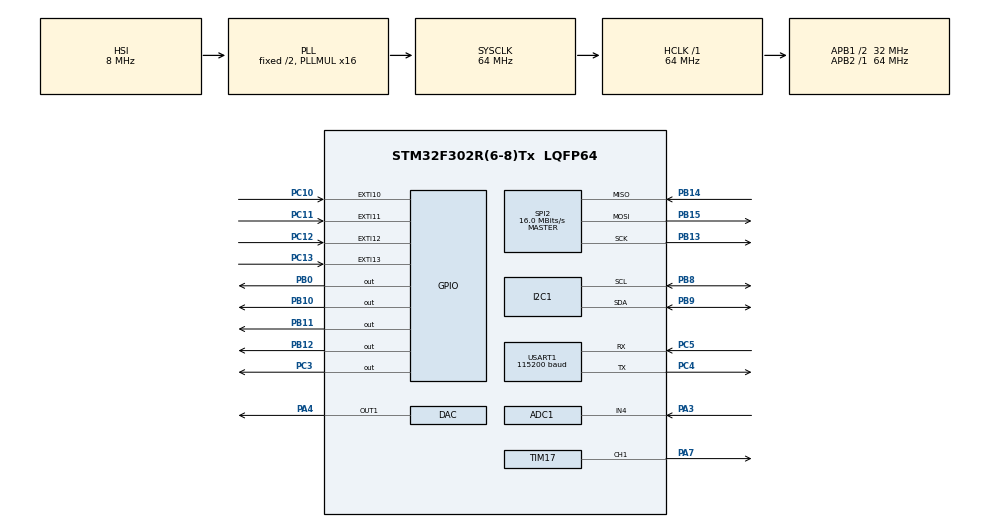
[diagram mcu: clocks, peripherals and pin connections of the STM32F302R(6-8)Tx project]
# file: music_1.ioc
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ADC1.Channel-2\#ChannelRegularConversion=ADC_CHANNEL_4
ADC1.ClockPrescaler=ADC_CLOCK_SYNC_PCLK_DIV4
ADC1.ContinuousConvMode=ENABLE
ADC1.DMAContinuousRequests=ENABLE
ADC1.EnableInjectedConversion=DISABLE
ADC1.EnableRegularConversion=ENABLE
ADC1.NbrOfConversion=1
ADC1.NbrOfConversionFlag=1
ADC1.Offset-2\#ChannelRegularConversion=154
ADC1.OffsetNumber-2\#ChannelRegularConversion=ADC_OFFSET_1
ADC1.Rank-2\#ChannelRegularConversion=1
ADC1.Resolution=ADC_RESOLUTION_8B
ADC1.SamplingTime-2\#ChannelRegularConversion=ADC_SAMPLETIME_7CYCLES_5
ADC1.SubFamily=STM32F302x8
ADC1.master=1
Dma.ADC1.1.Direction=DMA_PERIPH_TO_MEMORY
Dma.ADC1.1.Instance=DMA1_Channel1
Dma.ADC1.1.MemDataAlignment=DMA_MDATAALIGN_BYTE
Dma.ADC1.1.MemInc=DMA_MINC_ENABLE
Dma.ADC1.1.Mode=DMA_CIRCULAR
Dma.ADC1.1.PeriphDataAlignment=DMA_PDATAALIGN_BYTE
Dma.ADC1.1.PeriphInc=DMA_PINC_DISABLE
Dma.ADC1.1.Priority=DMA_PRIORITY_HIGH
Dma.Request0=TIM17_CH1/UP
Dma.Request1=ADC1
Dma.TIM17_CH1/UP.0.Direction=DMA_MEMORY_TO_PERIPH
Dma.TIM17_CH1/UP.0.Instance=DMA1_Channel7
Dma.TIM17_CH1/UP.0.MemDataAlignment=DMA_MDATAALIGN_BYTE
Dma.TIM17_CH1/UP.0.MemInc=DMA_MINC_ENABLE
Dma.TIM17_CH1/UP.0.Mode=DMA_NORMAL
Dma.TIM17_CH1/UP.0.PeriphDataAlignment=DMA_PDATAALIGN_BYTE
Dma.TIM17_CH1/UP.0.PeriphInc=DMA_PINC_DISABLE
Dma.TIM17_CH1/UP.0.Priority=DMA_PRIORITY_LOW
FATFS._FS_MINIMIZE=1
FATFS._MAX_SS=4096
FATFS._USE_LFN=1
I2C1.Timing=0x10707DBC
Mcu.Family=STM32F3
Mcu.Name=STM32F302R(6-8)Tx
Mcu.Package=LQFP64
NVIC.DMA1_Channel1_IRQn=true\:2\:0\:true\:false\:true\:false\:true\:true
NVIC.DMA1_Channel7_IRQn=true\:2\:0\:true\:false\:true\:false\:true\:true
NVIC.EXTI15_10_IRQn=true\:4\:0\:true\:false\:true\:true\:true\:true
NVIC.PriorityGroup=NVIC_PRIORITYGROUP_4
NVIC.TIM1_TRG_COM_TIM17_IRQn=true\:2\:0\:true\:false\:true\:true\:true\:true
NVIC.TIM6_DAC_IRQn=true\:1\:0\:true\:false\:true\:true\:true\:true
PA13.Mode=Serial_Wire
PA13.Signal=SYS_JTMS-SWDIO
PA14.Mode=Serial_Wire
PA14.Signal=SYS_JTCK-SWCLK
PA3.Mode=IN4-Single-Ended
PA3.Signal=ADC1_IN4
PA4.Signal=COMP_DAC1_group
PA7.Signal=S_TIM17_CH1
PB0.Signal=GPIO_Output
PB10.Signal=GPIO_Output
PB11.Signal=GPIO_Output
PB12.Signal=GPIO_Output
PB13.Mode=Full_Duplex_Master
PB13.Signal=SPI2_SCK
PB14.Mode=Full_Duplex_Master
PB14.Signal=SPI2_MISO
PB15.Mode=Full_Duplex_Master
PB15.Signal=SPI2_MOSI
PB8.Mode=I2C
PB8.Signal=I2C1_SCL
PB9.Mode=I2C
PB9.Signal=I2C1_SDA
PC10.GPIO_PuPd=GPIO_PULLDOWN
PC10.Signal=GPXTI10
PC11.GPIO_PuPd=GPIO_PULLDOWN
PC11.Signal=GPXTI11
PC12.GPIO_PuPd=GPIO_PULLDOWN
PC12.Signal=GPXTI12
PC13.Signal=GPXTI13
PC3.Signal=GPIO_Output
PC4.Mode=Asynchronous
PC4.Signal=USART1_TX
PC5.Mode=Asynchronous
PC5.Signal=USART1_RX
ProjectManager.HeapSize=0x200
ProjectManager.StackSize=0x400
ProjectManager.TargetToolchain=STM32CubeIDE
RCC.AHBFreq_Value=64000000
RCC.APB1CLKDivider=RCC_HCLK_DIV2
RCC.APB1Freq_Value=32000000
RCC.APB1TimFreq_Value=64000000
RCC.APB2Freq_Value=64000000
RCC.APB2TimFreq_Value=64000000
RCC.CortexFreq_Value=64000000
RCC.HCLKFreq_Value=64000000
RCC.HSE_VALUE=8000000
RCC.HSI_VALUE=8000000
RCC.I2c1ClockSelection=RCC_I2C1CLKSOURCE_SYSCLK
RCC.LSE_VALUE=32768
RCC.PLLMUL=RCC_PLL_MUL16
RCC.SYSCLKFreq_VALUE=64000000
RCC.SYSCLKSourceVirtual=RCC_SYSCLKSOURCE_PLLCLK
RCC.TIM17Selection=RCC_TIM17CLK_PLLCLK
RCC.USBFreq_Value=64000000
SH.COMP_DAC1_group.0=DAC_OUT1,DAC_OUT1
SH.S_TIM17_CH1.0=TIM17_CH1,PWM Generation1 CH1
SPI2.CalculateBaudRate=16.0 MBits/s
SPI2.DataSize=SPI_DATASIZE_8BIT
SPI2.Direction=SPI_DIRECTION_2LINES
SPI2.Mode=SPI_MODE_MASTER
SPI2.VirtualType=VM_MASTER
TIM17.Channel=TIM_CHANNEL_1
TIM17.Period=255
TIM17.Prescaler=30
TIM6.AutoReloadPreload=TIM_AUTORELOAD_PRELOAD_ENABLE
TIM6.Period=10000
TIM6.Prescaler=128
USART1.BaudRate=115200
USART1.VirtualMode-Asynchronous=VM_ASYNC
VP_FATFS_VS_Generic.Mode=User_defined
VP_TIM17_VS_ClockSourceINT.Mode=Enable_Timer
VP_TIM6_VS_ClockSourceINT.Mode=Enable_Timer
board=custom

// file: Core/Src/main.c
/* USER CODE BEGIN Header */
/**
  ******************************************************************************
  * @file           : main.c
  * @brief          : Main program body
  ******************************************************************************
  * @attention
  *
  * Copyright (c) 2023 STMicroelectronics.
  * All rights reserved.
  *
  * This software is licensed under terms that can be found in the LICENSE file
  * in the root directory of this software component.
  * If no LICENSE file comes with this software, it is provided AS-IS.
  *
  ******************************************************************************
  */
/* USER CODE END Header */
#include "main.h"
#include "fatfs.h"

/* USER CODE BEGIN Includes */
#include <stdio.h>
#include <string.h>
#include <stdbool.h>
#include <math.h>
#include "liquidcrystal_i2c.h"
/* USER CODE END Includes */

/* USER CODE BEGIN PD */
#define SIZE_OF_BUFFER 	500

/* USER CODE END PD */

 ADC_HandleTypeDef hadc1;
DMA_HandleTypeDef hdma_adc1;

DAC_HandleTypeDef hdac;

I2C_HandleTypeDef hi2c1;

SPI_HandleTypeDef hspi2;

TIM_HandleTypeDef htim6;
TIM_HandleTypeDef htim17;
DMA_HandleTypeDef hdma_tim17_ch1_up;

UART_HandleTypeDef huart1;

/* USER CODE BEGIN PV */
FATFS       FatFs;                //Fatfs handle
FIL         fil;                  //File handle
DIR 		dp;
FILINFO 	fno;
DWORD       fileSize;
FRESULT     fres;                 //Result after operations
char        buf[100];
//FIL old_fil_data;
DWORD	old_fptr;			/* File read/write pointer (Zeroed on file open) */
DWORD	old_fsize;			/* File size */
uint8_t buff_music[SIZE_OF_BUFFER];

struct
{
	int page : 4;
	/*   Page number description
	 * 0: Start menu
	 * 1: Music
	 * 2: Recording
	 */
	uint8_t cursor_line;
	uint8_t file_number;
	char music_name[10]
}display_status;

uint16_t tim17_counter;
uint32_t adc_counter;
/* USER CODE END PV */

void SystemClock_Config(void);
static void MX_GPIO_Init(void);
static void MX_I2C1_Init(void);
static void MX_SPI2_Init(void);
static void MX_USART1_UART_Init(void);
static void MX_DMA_Init(void);
static void MX_TIM17_Init(void);
static void MX_TIM6_Init(void);
static void MX_ADC1_Init(void);
static void MX_DAC_Init(void);
/* USER CODE BEGIN PFP */
void HAL_GPIO_EXTI_Callback(uint16_t GPIO_Pin);
void start_play_music(const TCHAR* path);
void stop_play_music();
/* USER CODE END PFP */

int main(void)
{
  /* USER CODE BEGIN 1 */
	memset(buff_music, 0, sizeof(buff_music));
	tim17_counter = 0;
	adc_counter = 0;
  /* USER CODE END 1 */

  /* MCU Configuration--------------------------------------------------------*/

  /* Reset of all peripherals, Initializes the Flash interface and the Systick. */
  HAL_Init();

  /* Configure the system clock */
  SystemClock_Config();

  /* Initialize all configured peripherals */
  MX_GPIO_Init();
  MX_I2C1_Init();
  MX_SPI2_Init();
  MX_USART1_UART_Init();
  MX_FATFS_Init();
  MX_DMA_Init();
  MX_TIM17_Init();
  MX_TIM6_Init();
  MX_ADC1_Init();
  MX_DAC_Init();
  /* USER CODE BEGIN 2 */
  process_SD_card();

	HD44780_Init(2);
	HD44780_Clear();
	HD44780_SetCursor(0,0);
	HD44780_PrintStr("     HELLO");
	HD44780_SetCursor(10,1);
	HAL_Delay(2000);
  /* USER CODE END 2 */

  /* Infinite loop */
  while (1)
  {

  }
}

void SystemClock_Config(void)
{
  RCC_OscInitTypeDef RCC_OscInitStruct = {0};
  RCC_ClkInitTypeDef RCC_ClkInitStruct = {0};
  RCC_PeriphCLKInitTypeDef PeriphClkInit = {0};

  /** Initializes the RCC Oscillators according to the specified parameters
  * in the RCC_OscInitTypeDef structure.
  */
  RCC_OscInitStruct.OscillatorType = RCC_OSCILLATORTYPE_HSI;
  RCC_OscInitStruct.HSIState = RCC_HSI_ON;
  RCC_OscInitStruct.HSICalibrationValue = RCC_HSICALIBRATION_DEFAULT;
  RCC_OscInitStruct.PLL.PLLState = RCC_PLL_ON;
  RCC_OscInitStruct.PLL.PLLSource = RCC_PLLSOURCE_HSI;
  RCC_OscInitStruct.PLL.PLLMUL = RCC_PLL_MUL16;
  if (HAL_RCC_OscConfig(&RCC_OscInitStruct) != HAL_OK)
  {
    Error_Handler();
  }

  /** Initializes the CPU, AHB and APB buses clocks
  */
  RCC_ClkInitStruct.ClockType = RCC_CLOCKTYPE_HCLK|RCC_CLOCKTYPE_SYSCLK
                              |RCC_CLOCKTYPE_PCLK1|RCC_CLOCKTYPE_PCLK2;
  RCC_ClkInitStruct.SYSCLKSource = RCC_SYSCLKSOURCE_PLLCLK;
  RCC_ClkInitStruct.AHBCLKDivider = RCC_SYSCLK_DIV1;
  RCC_ClkInitStruct.APB1CLKDivider = RCC_HCLK_DIV2;
  RCC_ClkInitStruct.APB2CLKDivider = RCC_HCLK_DIV1;

  if (HAL_RCC_ClockConfig(&RCC_ClkInitStruct, FLASH_LATENCY_2) != HAL_OK)
  {
    Error_Handler();
  }
  PeriphClkInit.PeriphClockSelection = RCC_PERIPHCLK_USART1|RCC_PERIPHCLK_I2C1
                              |RCC_PERIPHCLK_TIM17;
  PeriphClkInit.Usart1ClockSelection = RCC_USART1CLKSOURCE_PCLK1;
  PeriphClkInit.I2c1ClockSelection = RCC_I2C1CLKSOURCE_SYSCLK;
  PeriphClkInit.Tim17ClockSelection = RCC_TIM17CLK_PLLCLK;
  if (HAL_RCCEx_PeriphCLKConfig(&PeriphClkInit) != HAL_OK)
  {
    Error_Handler();
  }
}

static void MX_ADC1_Init(void)
{

  ADC_ChannelConfTypeDef sConfig = {0};

  /* USER CODE BEGIN ADC1_Init 1 */
  hadc1.Init.ContinuousConvMode = ENABLE;   ////// !!!!!!!!!!!!!!!!!
  hadc1.Init.DMAContinuousRequests = ENABLE; //////////!!!!!!!!!!   ENABLE is from lcd displej
  /* USER CODE END ADC1_Init 1 */

  /** Common config
  */
  hadc1.Instance = ADC1;
  hadc1.Init.ClockPrescaler = ADC_CLOCK_SYNC_PCLK_DIV4;
  hadc1.Init.Resolution = ADC_RESOLUTION_8B;
  hadc1.Init.ScanConvMode = ADC_SCAN_DISABLE;
  hadc1.Init.ContinuousConvMode = ENABLE;
  hadc1.Init.DiscontinuousConvMode = DISABLE;
  hadc1.Init.ExternalTrigConvEdge = ADC_EXTERNALTRIGCONVEDGE_NONE;
  hadc1.Init.ExternalTrigConv = ADC_SOFTWARE_START;
  hadc1.Init.DataAlign = ADC_DATAALIGN_RIGHT;
  hadc1.Init.NbrOfConversion = 1;
  hadc1.Init.DMAContinuousRequests = ENABLE;
  hadc1.Init.EOCSelection = ADC_EOC_SINGLE_CONV;
  hadc1.Init.LowPowerAutoWait = DISABLE;
  hadc1.Init.Overrun = ADC_OVR_DATA_OVERWRITTEN;
  if (HAL_ADC_Init(&hadc1) != HAL_OK)
  {
    Error_Handler();
  }

  /** Configure Regular Channel
  */
  sConfig.Channel = ADC_CHANNEL_4;
  sConfig.Rank = ADC_REGULAR_RANK_1;
  sConfig.SingleDiff = ADC_SINGLE_ENDED;
  sConfig.SamplingTime = ADC_SAMPLETIME_7CYCLES_5;
  sConfig.OffsetNumber = ADC_OFFSET_1;
  sConfig.Offset = 154;
  if (HAL_ADC_ConfigChannel(&hadc1, &sConfig) != HAL_OK)
  {
    Error_Handler();
  }

}

static void MX_DAC_Init(void)
{

  DAC_ChannelConfTypeDef sConfig = {0};

  /** DAC Initialization
  */
  hdac.Instance = DAC;
  if (HAL_DAC_Init(&hdac) != HAL_OK)
  {
    Error_Handler();
  }

  /** DAC channel OUT1 config
  */
  sConfig.DAC_Trigger = DAC_TRIGGER_NONE;
  sConfig.DAC_OutputBuffer = DAC_OUTPUTBUFFER_ENABLE;
  if (HAL_DAC_ConfigChannel(&hdac, &sConfig, DAC_CHANNEL_1) != HAL_OK)
  {
    Error_Handler();
  }

}

static void MX_I2C1_Init(void)
{

  hi2c1.Instance = I2C1;
  hi2c1.Init.Timing = 0x10707DBC;
  hi2c1.Init.OwnAddress1 = 0;
  hi2c1.Init.AddressingMode = I2C_ADDRESSINGMODE_7BIT;
  hi2c1.Init.DualAddressMode = I2C_DUALADDRESS_DISABLE;
  hi2c1.Init.OwnAddress2 = 0;
  hi2c1.Init.OwnAddress2Masks = I2C_OA2_NOMASK;
  hi2c1.Init.GeneralCallMode = I2C_GENERALCALL_DISABLE;
  hi2c1.Init.NoStretchMode = I2C_NOSTRETCH_DISABLE;
  if (HAL_I2C_Init(&hi2c1) != HAL_OK)
  {
    Error_Handler();
  }

  /** Configure Analogue filter
  */
  if (HAL_I2CEx_ConfigAnalogFilter(&hi2c1, I2C_ANALOGFILTER_ENABLE) != HAL_OK)
  {
    Error_Handler();
  }

  /** Configure Digital filter
  */
  if (HAL_I2CEx_ConfigDigitalFilter(&hi2c1, 0) != HAL_OK)
  {
    Error_Handler();
  }

}

static void MX_SPI2_Init(void)
{

  /* SPI2 parameter configuration*/
  hspi2.Instance = SPI2;
  hspi2.Init.Mode = SPI_MODE_MASTER;
  hspi2.Init.Direction = SPI_DIRECTION_2LINES;
  hspi2.Init.DataSize = SPI_DATASIZE_8BIT;
  hspi2.Init.CLKPolarity = SPI_POLARITY_LOW;
  hspi2.Init.CLKPhase = SPI_PHASE_1EDGE;
  hspi2.Init.NSS = SPI_NSS_SOFT;
  hspi2.Init.BaudRatePrescaler = SPI_BAUDRATEPRESCALER_2;
  hspi2.Init.FirstBit = SPI_FIRSTBIT_MSB;
  hspi2.Init.TIMode = SPI_TIMODE_DISABLE;
  hspi2.Init.CRCCalculation = SPI_CRCCALCULATION_DISABLE;
  hspi2.Init.CRCPolynomial = 7;
  hspi2.Init.CRCLength = SPI_CRC_LENGTH_DATASIZE;
  hspi2.Init.NSSPMode = SPI_NSS_PULSE_ENABLE;
  if (HAL_SPI_Init(&hspi2) != HAL_OK)
  {
    Error_Handler();
  }

}

static void MX_TIM6_Init(void)
{

  TIM_MasterConfigTypeDef sMasterConfig = {0};

  htim6.Instance = TIM6;
  htim6.Init.Prescaler = 128;
  htim6.Init.CounterMode = TIM_COUNTERMODE_UP;
  htim6.Init.Period = 10000;
  htim6.Init.AutoReloadPreload = TIM_AUTORELOAD_PRELOAD_ENABLE;
  if (HAL_TIM_Base_Init(&htim6) != HAL_OK)
  {
    Error_Handler();
  }
  sMasterConfig.MasterOutputTrigger = TIM_TRGO_RESET;
  sMasterConfig.MasterSlaveMode = TIM_MASTERSLAVEMODE_DISABLE;
  if (HAL_TIMEx_MasterConfigSynchronization(&htim6, &sMasterConfig) != HAL_OK)
  {
    Error_Handler();
  }

}

static void MX_TIM17_Init(void)
{

  TIM_OC_InitTypeDef sConfigOC = {0};
  TIM_BreakDeadTimeConfigTypeDef sBreakDeadTimeConfig = {0};

  htim17.Instance = TIM17;
  htim17.Init.Prescaler = 30;
  htim17.Init.CounterMode = TIM_COUNTERMODE_UP;
  htim17.Init.Period = 255;
  htim17.Init.ClockDivision = TIM_CLOCKDIVISION_DIV1;
  htim17.Init.RepetitionCounter = 0;
  htim17.Init.AutoReloadPreload = TIM_AUTORELOAD_PRELOAD_DISABLE;
  if (HAL_TIM_Base_Init(&htim17) != HAL_OK)
  {
    Error_Handler();
  }
  if (HAL_TIM_PWM_Init(&htim17) != HAL_OK)
  {
    Error_Handler();
  }
  sConfigOC.OCMode = TIM_OCMODE_PWM1;
  sConfigOC.Pulse = 0;
  sConfigOC.OCPolarity = TIM_OCPOLARITY_HIGH;
  sConfigOC.OCNPolarity = TIM_OCNPOLARITY_HIGH;
  sConfigOC.OCFastMode = TIM_OCFAST_DISABLE;
  sConfigOC.OCIdleState = TIM_OCIDLESTATE_RESET;
  sConfigOC.OCNIdleState = TIM_OCNIDLESTATE_RESET;
  if (HAL_TIM_PWM_ConfigChannel(&htim17, &sConfigOC, TIM_CHANNEL_1) != HAL_OK)
  {
    Error_Handler();
  }
  sBreakDeadTimeConfig.OffStateRunMode = TIM_OSSR_DISABLE;
  sBreakDeadTimeConfig.OffStateIDLEMode = TIM_OSSI_DISABLE;
  sBreakDeadTimeConfig.LockLevel = TIM_LOCKLEVEL_OFF;
  sBreakDeadTimeConfig.DeadTime = 0;
  sBreakDeadTimeConfig.BreakState = TIM_BREAK_DISABLE;
  sBreakDeadTimeConfig.BreakPolarity = TIM_BREAKPOLARITY_HIGH;
  sBreakDeadTimeConfig.BreakFilter = 0;
  sBreakDeadTimeConfig.AutomaticOutput = TIM_AUTOMATICOUTPUT_DISABLE;
  if (HAL_TIMEx_ConfigBreakDeadTime(&htim17, &sBreakDeadTimeConfig) != HAL_OK)
  {
    Error_Handler();
  }
  HAL_TIM_MspPostInit(&htim17);

}

static void MX_USART1_UART_Init(void)
{

  huart1.Instance = USART1;
  huart1.Init.BaudRate = 115200;
  huart1.Init.WordLength = UART_WORDLENGTH_8B;
  huart1.Init.StopBits = UART_STOPBITS_1;
  huart1.Init.Parity = UART_PARITY_NONE;
  huart1.Init.Mode = UART_MODE_TX_RX;
  huart1.Init.HwFlowCtl = UART_HWCONTROL_NONE;
  huart1.Init.OverSampling = UART_OVERSAMPLING_16;
  huart1.Init.OneBitSampling = UART_ONE_BIT_SAMPLE_DISABLE;
  huart1.AdvancedInit.AdvFeatureInit = UART_ADVFEATURE_NO_INIT;
  if (HAL_UART_Init(&huart1) != HAL_OK)
  {
    Error_Handler();
  }

}

static void MX_DMA_Init(void)
{

  /* DMA controller clock enable */
  __HAL_RCC_DMA1_CLK_ENABLE();

  /* DMA interrupt init */
  /* DMA1_Channel1_IRQn interrupt configuration */
  HAL_NVIC_SetPriority(DMA1_Channel1_IRQn, 2, 0);
  HAL_NVIC_EnableIRQ(DMA1_Channel1_IRQn);
  /* DMA1_Channel7_IRQn interrupt configuration */
  HAL_NVIC_SetPriority(DMA1_Channel7_IRQn, 2, 0);
  HAL_NVIC_EnableIRQ(DMA1_Channel7_IRQn);

}

static void MX_GPIO_Init(void)
{
  GPIO_InitTypeDef GPIO_InitStruct = {0};

  /* GPIO Ports Clock Enable */
  __HAL_RCC_GPIOC_CLK_ENABLE();
  __HAL_RCC_GPIOA_CLK_ENABLE();
  __HAL_RCC_GPIOB_CLK_ENABLE();

  /*Configure GPIO pin Output Level */
  HAL_GPIO_WritePin(GPIOC, GPIO_PIN_3, GPIO_PIN_RESET);

  /*Configure GPIO pin Output Level */
  HAL_GPIO_WritePin(GPIOB, GPIO_PIN_0|GPIO_PIN_10|GPIO_PIN_11|GPIO_PIN_12, GPIO_PIN_RESET);

  /*Configure GPIO pin : PC13 */
  GPIO_InitStruct.Pin = GPIO_PIN_13;
  GPIO_InitStruct.Mode = GPIO_MODE_IT_RISING;
  GPIO_InitStruct.Pull = GPIO_NOPULL;
  HAL_GPIO_Init(GPIOC, &GPIO_InitStruct);

  /*Configure GPIO pin : PC3 */
  GPIO_InitStruct.Pin = GPIO_PIN_3;
  GPIO_InitStruct.Mode = GPIO_MODE_OUTPUT_PP;
  GPIO_InitStruct.Pull = GPIO_NOPULL;
  GPIO_InitStruct.Speed = GPIO_SPEED_FREQ_LOW;
  HAL_GPIO_Init(GPIOC, &GPIO_InitStruct);

  /*Configure GPIO pins : PB0 PB10 PB11 PB12 */
  GPIO_InitStruct.Pin = GPIO_PIN_0|GPIO_PIN_10|GPIO_PIN_11|GPIO_PIN_12;
  GPIO_InitStruct.Mode = GPIO_MODE_OUTPUT_PP;
  GPIO_InitStruct.Pull = GPIO_NOPULL;
  GPIO_InitStruct.Speed = GPIO_SPEED_FREQ_LOW;
  HAL_GPIO_Init(GPIOB, &GPIO_InitStruct);

  /*Configure GPIO pins : PC10 PC11 PC12 */
  GPIO_InitStruct.Pin = GPIO_PIN_10|GPIO_PIN_11|GPIO_PIN_12;
  GPIO_InitStruct.Mode = GPIO_MODE_IT_RISING;
  GPIO_InitStruct.Pull = GPIO_PULLDOWN;
  HAL_GPIO_Init(GPIOC, &GPIO_InitStruct);

  /* EXTI interrupt init*/
  HAL_NVIC_SetPriority(EXTI15_10_IRQn, 4, 0);
  HAL_NVIC_EnableIRQ(EXTI15_10_IRQn);

}

/* USER CODE BEGIN 4 */
#ifdef __GNUC__
  /* With GCC, small printf (option LD Linker->Libraries->Small printf
     set to 'Yes') calls __io_putchar() */
int __io_putchar(int ch)
#else
int fputc(int ch, FILE *f)
#endif /* __GNUC__ */
{
  /* Place your implementation of fputc here */
  /* e.g. write a character to the UART3 and Loop until the end of transmission */
  HAL_UART_Transmit(&huart1, (uint8_t *)&ch, 1, HAL_MAX_DELAY);
  return ch;
}

void process_SD_card( void )
{
	f_mount(NULL, "", 0);
	fres = f_mount(&FatFs, "", 1);
	fres = f_open(&fil, "0:/data/data_file.txt", FA_WRITE | FA_READ | FA_CREATE_ALWAYS);
	fil.fsize = old_fsize;
	if (fres == FR_OK) {
	    UINT bytesWritten;
	    f_lseek(&fil, f_size(&fil));
	    DWORD size_of_fil;
	    size_of_fil = f_size(&fil);
	    printf("size of file 1 : %d \r\n", size_of_fil);
		memset(buff_music, 'A', sizeof(buff_music));
		fres = f_write(&fil, buff_music, sizeof(buff_music), &bytesWritten);
		size_of_fil = f_size(&fil);
		printf("size of file 2: %d \r\n", size_of_fil);
		 if (fres == FR_OK) {
				// Data written successfully
				f_close(&fil);  // Close the file
				printf("Data written to file: data_file.txt \r\n");
			} else {
				// Error occurred while writing data
				f_close(&fil);  // Close the file
				printf("Error writing data to file: data_file.txt \r\n");
			}
		    } else {
		        // Error occurred while opening the file
		        printf("Error opening file: data_file.txt \r\n");
		    }
		  f_close(&fil);
		  old_fsize = fil.fsize;
		  //f_mount(NULL, "", 0);
}

HAL_GPIO_EXTI_Callback(uint16_t GPIO_Pin)
{
	if(GPIO_Pin == GPIO_PIN_13)  //Esc
	{
		//Start menu
		HD44780_Clear();
		HD44780_SetCursor(0,0);
		HD44780_PrintStr("1. Music");
		HD44780_SetCursor(0,1);
		HD44780_PrintStr("2. Recording");
	    HD44780_Cursor();
	    HD44780_Blink();
	    HD44780_SetCursor(0,0);
	    display_status.page = 0;
	    display_status.cursor_line = 0;

	    stop_play_music(&fil);
	}
	else if(GPIO_Pin == GPIO_PIN_10)  // Enter
	{
		if(display_status.page == 0 && display_status.cursor_line ==0) // Music
		{
			HD44780_Clear();
			HD44780_SetCursor(0,0);
			display_status.page = 1;
			display_status.cursor_line = 0;
			fres = f_mount(&FatFs, "", 1);
			fres=f_opendir(&dp,"0:/music");
			printf("fres = %d \r\n", fres);
			display_status.file_number = 0;
			do
			{
				fres=f_readdir(&dp, &fno);
				printf("file name: %s \r\n", fno.fname);
				sprintf(buff_music,"%d. %s", display_status.file_number+1, fno.fname);
				if(display_status.file_number<2)
				{
					HD44780_SetCursor(0,display_status.file_number);
					HD44780_PrintStr(buff_music);
				}
				display_status.file_number++;
			}
			while (fres == FR_OK && fno.fname[0] !='\0');
			display_status.file_number =1; //Display can show only 2 lines
			f_mount(NULL, "", 0);
			HD44780_SetCursor(0,0);
		}
		else if(display_status.page == 1 && display_status.cursor_line ==0)
		{
			fres = f_mount(&FatFs, "", 1);
			fres=f_opendir(&dp,"0:/music");
			uint8_t n = display_status.file_number;
			display_status.file_number=0;
			do
			{
				fres=f_readdir(&dp, &fno);
				printf("file name: %s \r\n", fno.fname);
				sprintf(display_status.music_name,"%s", fno.fname);
				display_status.file_number++;
			}while(fno.fname[0] !='\0' &&  display_status.file_number<=n-1);
			display_status.file_number=n;
			f_mount(NULL, "", 0);
			char path[30];
			sprintf(path, "0:/music/%s", display_status.music_name);
			start_play_music(path);
		}
		else if(display_status.page == 1 && display_status.cursor_line ==1)
		{
			fres = f_mount(&FatFs, "", 1);
			fres=f_opendir(&dp,"0:/music");
			uint8_t n = display_status.file_number;
			display_status.file_number=0;
			do
			{
				fres=f_readdir(&dp, &fno);
				printf("file name: %s \r\n", fno.fname);
				sprintf(display_status.music_name,"%s", fno.fname);
				display_status.file_number++;
			}while(fno.fname[0] !='\0' &&  display_status.file_number<=n);
			display_status.file_number=n;
			f_mount(NULL, "", 0);
			char path[30];
			sprintf(path, "0:/music/%s", display_status.music_name);
			start_play_music(path);
		}

		if(display_status.page == 0 && display_status.cursor_line ==1) // Recording
		{
			HD44780_Clear();
			HD44780_SetCursor(0,0);
			HD44780_PrintStr("1.New Recording");
			HD44780_SetCursor(0,1);
			HD44780_PrintStr("2.Listen Record");
			display_status.page = 2;
			display_status.cursor_line = 0;
			HD44780_SetCursor(0,0);

		}
		else if(display_status.page == 2 && display_status.cursor_line ==0) //New recording
		{
			GPIOC->ODR |= GPIO_ODR_3;
			f_close(&fil);
			f_mount(NULL, "", 0);
			fres = f_mount(&FatFs, "", 1);
			fres = f_open(&fil, "0:/data/rec.wav", FA_WRITE | FA_READ | FA_CREATE_ALWAYS);
			HAL_TIM_Base_Start_IT(&htim6);
			ADC1->CFGR |= ADC_CFGR_DMACFG;
			ADC1->CFGR |= ADC_CFGR_DMAEN;
			HAL_ADC_Start(&hadc1);
			HAL_DMA_Start_IT(&hdma_adc1, &(ADC1->DR), (uint32_t)buff_music, sizeof(buff_music));
		}
		else if(display_status.page == 2 && display_status.cursor_line ==1) //Listen record
		{
			GPIOB->ODR |= GPIO_ODR_0;
			HAL_Delay(10);
			GPIOB->ODR &= ~GPIO_ODR_0;
		}
	}
	else if(GPIO_Pin == GPIO_PIN_11)  // ->
	{
		if(display_status.page == 0) {HD44780_SetCursor(0,1); display_status.cursor_line =1;}
		if(display_status.page == 1)
		{
			if(display_status.cursor_line == 1)
			{
				fres = f_mount(&FatFs, "", 1);
				fres=f_opendir(&dp,"0:/music");
				display_status.file_number++;
				uint8_t n = display_status.file_number;
				display_status.file_number=0;
				HD44780_Clear();
				do
				{
					fres=f_readdir(&dp, &fno);
					printf("file name: %s \r\n", fno.fname);
					sprintf(buff_music,"%d. %s", display_status.file_number+1, fno.fname);
					if(display_status.file_number == n-1)
					{
						HD44780_SetCursor(0,0);
						HD44780_PrintStr(buff_music);
					}
					else if(display_status.file_number == n)
					{
						HD44780_SetCursor(0,1);
						HD44780_PrintStr(buff_music);
					}
					display_status.file_number++;
				}while(fno.fname[0] !='\0' &&  display_status.file_number<=n);
				display_status.file_number=n;
				//f_mount(NULL, "", 0);
			}
			HD44780_SetCursor(0,1);
			display_status.cursor_line =1;
		}
		if(display_status.page == 2)
		{
			HD44780_SetCursor(0,1);
			display_status.cursor_line =1;
		}

	}
	else if(GPIO_Pin == GPIO_PIN_12)  // <-
	{
		if(display_status.page == 0) {HD44780_SetCursor(0,0); display_status.cursor_line =0;}
		if(display_status.page == 1)
		{
			if(display_status.cursor_line == 0)
			{
				fres = f_mount(&FatFs, "", 1);
				fres=f_opendir(&dp,"0:/music");
				display_status.file_number--;
				uint8_t n = display_status.file_number;
				display_status.file_number=0;
				HD44780_Clear();
				do
				{
					fres=f_readdir(&dp, &fno);
					printf("file name: %s \r\n", fno.fname);
					sprintf(buff_music,"%d. %s", display_status.file_number+1, fno.fname);
					if(display_status.file_number == n-1)
					{
						HD44780_SetCursor(0,0);
						HD44780_PrintStr(buff_music);
					}
					else if(display_status.file_number == n)
					{
						HD44780_SetCursor(0,1);
						HD44780_PrintStr(buff_music);
					}
					display_status.file_number++;
				}while(fno.fname[0] !='\0' &&  display_status.file_number<=n);
				display_status.file_number=n;
				//f_mount(NULL, "", 0);
			}
			HD44780_SetCursor(0,0);
			display_status.cursor_line =0;
		}
		if(display_status.page == 2)
		{
			HD44780_SetCursor(0,0);
			display_status.cursor_line =0;
		}
	}
}

void start_play_music(const TCHAR* path)
{
	fres = f_mount(&FatFs, "", 1);    //1=mount now  "" == '\0' == 0
  fres = f_open(&fil, path, FA_READ );
  if (fres == FR_OK) {
	  if((TIM17->DIER &(1<<0)) == 0)
	  {
		  TIM17->DIER |=1;
		  HAL_TIM_PWM_Start(&htim17, TIM_CHANNEL_1);
	  }
  }
}

void stop_play_music()
{
	TIM17->DIER &=~1;
	HAL_TIM_PWM_Stop(&htim17, TIM_CHANNEL_1);
	tim17_counter = 0;
	f_close(&fil);
	fres = f_mount(NULL, "", 0);
}
/* USER CODE END 4 */

void Error_Handler(void)
{
  __disable_irq();
  while (1)
  {
  }
}
